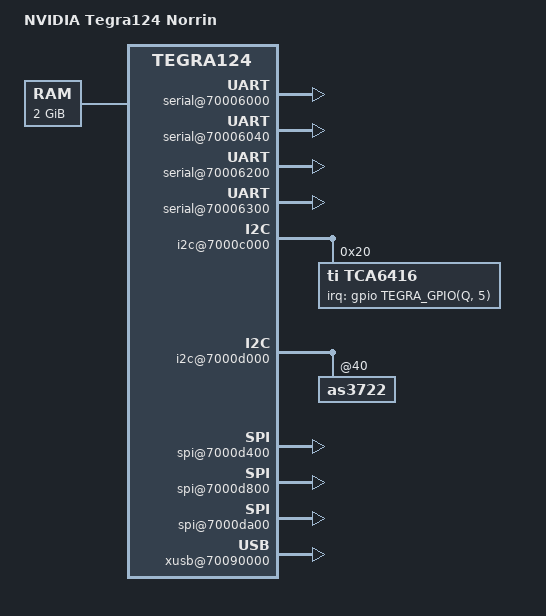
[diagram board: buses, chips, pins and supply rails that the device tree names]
#include "tegra124-soc-shield.dtsi"
#include "tegra124-platforms/tegra124-pm374-gpio-default.dtsi"
#include "tegra124-platforms/tegra124-pm374-pinmux.dtsi"
#include "tegra124-platforms/tegra124-norrin-keys-pm374-0000-a00.dtsi"
#include "tegra124-platforms/tegra124-norrin-power-tree-pm374-0000-a00.dtsi"

/ {
	model = "NVIDIA Tegra124 Norrin";
	compatible = "nvidia,norrin", "nvidia,tegra124";
	nvidia,dtsfilename = __FILE__;
	#address-cells = <2>;
	#size-cells = <2>;

	chosen {
		bootargs = "tegraid=40.0.0.00.00 vmalloc=256M video=tegrafb console=ttyS0,115200n8 earlyprintk";
		linux,initrd-start = <0x85000000>;
		linux,initrd-end = <0x851bc400>;
	};

	firmware {
		android {
			compatible = "android,firmware";
			hardware = "norrin";
		};
	};

	serial@70006000 {
		compatible = "nvidia,tegra114-hsuart";
		status = "okay";
	};

	serial@70006040 {
		compatible = "nvidia,tegra114-hsuart";
		status = "okay";
	};

	serial@70006200 {
		compatible = "nvidia,tegra114-hsuart";
		status = "okay";
	};

	serial@70006300 {
		compatible = "nvidia,tegra20-uart", "nvidia,tegra114-hsuart";
		console-port;
		sqa-automation-port;
		status = "okay";
	};

	i2c@7000c000 {

		tca6416: gpio@20 {
			compatible = "ti,tca6416";
			reg = <0x20>;
			interrupt-parent = <&gpio>;
			interrupts = <TEGRA_GPIO(Q, 5) 0x0>;

			#gpio-cells = <2>;
			gpio-controller;

			#interrupt-cells = <2>;
			interrupt-controller;
		};
	};

	i2c@7000d000 {
		nvidia,bit-banging-xfer-after-shutdown;
		as3722@40 {
			adc_extcon {
				ams,extcon-name = "as3722-extcon";
			};
		};
	};

	memory@0x80000000 {
		device_type = "memory";
		reg = <0x0 0x80000000 0x0 0x80000000>;
	};

	spi@7000d400 {
		status = "okay";
		spi-max-frequency = <25000000>;
	};

	spi@7000d800 {
		status = "okay";
		spi-max-frequency = <25000000>;
	};

	spi@7000da00 {
		status = "okay";
		spi-max-frequency = <25000000>;
	};

	pmc@7000e400 {
		status = "okay";
		nvidia,invert-interrupt;
		nvidia,suspend-mode = <0>;
		nvidia,cpu-pwr-good-time = <2000>;
		nvidia,cpu-pwr-off-time = <2000>;
		nvidia,core-pwr-good-time = <3845 3845>;
		nvidia,core-pwr-off-time = <2000>;
		nvidia,core-power-req-active-high;
		nvidia,sys-clock-req-active-high;
	};

	xusb@70090000 {
		/* nvidia,uses_external_pmic;
		nvidia,gpio_controls_muxed_ss_lanes; */
		nvidia,gpio_ss1_sata = <0>;
		nvidia,portmap = <0x703>; /* SSP0, SSP1 USB2P0, USB2P1, USBP2 */
		nvidia,ss_portmap = <0x20>; /* SSP0 on USB2P0, SSP1 on USB2P2 */
		nvidia,lane_owner = <6>; /* USB3P0 USB3P1 */
		nvidia,ulpicap = <0>; /* No ulpi support. can we remove */
		/* hsic config values in order defined in structure */
		nvidia,hsic0 = /bits/8 <0x1 0x1 0x8 0xa 0 0 1 0x22 0>;
		status = "okay";
	};

	cpu_edp {
		nvidia,edp_limit = <32000>;
	};

	gpu_edp {
		nvidia,edp_limit = <16000>;
	};
};
